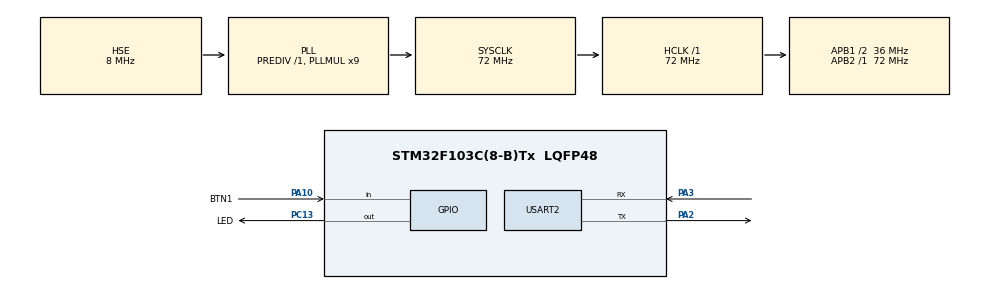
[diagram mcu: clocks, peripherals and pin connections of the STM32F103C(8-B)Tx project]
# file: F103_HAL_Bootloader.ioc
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Mcu.Family=STM32F1
Mcu.Name=STM32F103C(8-B)Tx
Mcu.Package=LQFP48
NVIC.PriorityGroup=NVIC_PRIORITYGROUP_4
PA10.GPIO_Label=BTN1
PA10.Signal=GPIO_Input
PA13.Mode=Serial_Wire
PA13.Signal=SYS_JTMS-SWDIO
PA14.Mode=Serial_Wire
PA14.Signal=SYS_JTCK-SWCLK
PA2.Mode=Asynchronous
PA2.Signal=USART2_TX
PA3.Mode=Asynchronous
PA3.Signal=USART2_RX
PC13-TAMPER-RTC.GPIO_Label=LED
PC13-TAMPER-RTC.Signal=GPIO_Output
PC14-OSC32_IN.Mode=LSE-External-Oscillator
PC14-OSC32_IN.Signal=RCC_OSC32_IN
PC15-OSC32_OUT.Mode=LSE-External-Oscillator
PC15-OSC32_OUT.Signal=RCC_OSC32_OUT
PD0-OSC_IN.Mode=HSE-External-Oscillator
PD0-OSC_IN.Signal=RCC_OSC_IN
PD1-OSC_OUT.Mode=HSE-External-Oscillator
PD1-OSC_OUT.Signal=RCC_OSC_OUT
ProjectManager.HeapSize=0x200
ProjectManager.StackSize=0x400
ProjectManager.TargetToolchain=STM32CubeIDE
RCC.AHBFreq_Value=72000000
RCC.APB1CLKDivider=RCC_HCLK_DIV2
RCC.APB1Freq_Value=36000000
RCC.APB1TimFreq_Value=72000000
RCC.APB2Freq_Value=72000000
RCC.APB2TimFreq_Value=72000000
RCC.HCLKFreq_Value=72000000
RCC.PLLMUL=RCC_PLL_MUL9
RCC.PLLSourceVirtual=RCC_PLLSOURCE_HSE
RCC.SYSCLKFreq_VALUE=72000000
RCC.SYSCLKSource=RCC_SYSCLKSOURCE_PLLCLK
RCC.USBFreq_Value=72000000
USART2.VirtualMode=VM_ASYNC
board=custom

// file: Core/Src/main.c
/* USER CODE BEGIN Header */
/**
  ******************************************************************************
  * @file           : main.c
  * @brief          : Main program body
  ******************************************************************************
  * @attention
  *
  * <h2><center>&copy; Copyright (c) 2022 STMicroelectronics.
  * All rights reserved.</center></h2>
  *
  * This software component is licensed by ST under BSD 3-Clause license,
  * the "License"; You may not use this file except in compliance with the
  * License. You may obtain a copy of the License at:
  *                        opensource.org/licenses/BSD-3-Clause
  *
  ******************************************************************************
  */
/* USER CODE END Header */
#include "main.h"

/* USER CODE BEGIN Includes */
#include <stdio.h>
/* USER CODE END Includes */

/* USER CODE BEGIN PM */
#define BL_V_MAJOR 1
#define BL_V_MINOR 0
/* USER CODE END PM */

UART_HandleTypeDef huart2;

void SystemClock_Config(void);
static void MX_GPIO_Init(void);
static void MX_USART2_UART_Init(void);

/* USER CODE BEGIN 0 */

#ifdef __GNUC__
int __io_putchar(int ch)
#else
int fputc(int ch, FILE *f)
#endif
{
	HAL_UART_Transmit(&huart2, (uint8_t *)&ch, 1, HAL_MAX_DELAY);
	return ch;
}

void goto_application(void)
{
	HAL_GPIO_WritePin(LED_GPIO_Port, LED_Pin, 1);
	printf("Loading application...\r\n");
	void (*app_reset_handler)(void) = (void*)(*((volatile uint32_t*) (0x08010000 + 4U)));
	__set_MSP(*(volatile uint32_t*) 0x08010000);
	app_reset_handler();
}

/* USER CODE END 0 */

int main(void)
{

  /* MCU Configuration--------------------------------------------------------*/

  /* Reset of all peripherals, Initializes the Flash interface and the Systick. */
  HAL_Init();

  /* Configure the system clock */
  SystemClock_Config();

  /* Initialize all configured peripherals */
  MX_GPIO_Init();
  MX_USART2_UART_Init();
  /* USER CODE BEGIN 2 */

  printf("Bootloader v%d.%d\r\n", BL_V_MAJOR, BL_V_MINOR);
  printf("Press 1 for update\r\n");
  printf("Press 2 to boot existing firmware\r\n");

  while(!(HAL_GPIO_ReadPin(BTN1_GPIO_Port, BTN1_Pin))){}
  for(uint8_t i = 0; i < 20; i++)
  {
	  HAL_GPIO_TogglePin(LED_GPIO_Port, LED_Pin);
	  HAL_Delay(250);
  }

  //goto_application();

  /* USER CODE END 2 */

  /* Infinite loop */
  while (1)
  {

  }
}

void SystemClock_Config(void)
{
  RCC_OscInitTypeDef RCC_OscInitStruct = {0};
  RCC_ClkInitTypeDef RCC_ClkInitStruct = {0};

  /** Initializes the RCC Oscillators according to the specified parameters
  * in the RCC_OscInitTypeDef structure.
  */
  RCC_OscInitStruct.OscillatorType = RCC_OSCILLATORTYPE_HSE;
  RCC_OscInitStruct.HSEState = RCC_HSE_ON;
  RCC_OscInitStruct.HSEPredivValue = RCC_HSE_PREDIV_DIV1;
  RCC_OscInitStruct.HSIState = RCC_HSI_ON;
  RCC_OscInitStruct.PLL.PLLState = RCC_PLL_ON;
  RCC_OscInitStruct.PLL.PLLSource = RCC_PLLSOURCE_HSE;
  RCC_OscInitStruct.PLL.PLLMUL = RCC_PLL_MUL9;
  if (HAL_RCC_OscConfig(&RCC_OscInitStruct) != HAL_OK)
  {
    Error_Handler();
  }
  /** Initializes the CPU, AHB and APB buses clocks
  */
  RCC_ClkInitStruct.ClockType = RCC_CLOCKTYPE_HCLK|RCC_CLOCKTYPE_SYSCLK
                              |RCC_CLOCKTYPE_PCLK1|RCC_CLOCKTYPE_PCLK2;
  RCC_ClkInitStruct.SYSCLKSource = RCC_SYSCLKSOURCE_PLLCLK;
  RCC_ClkInitStruct.AHBCLKDivider = RCC_SYSCLK_DIV1;
  RCC_ClkInitStruct.APB1CLKDivider = RCC_HCLK_DIV2;
  RCC_ClkInitStruct.APB2CLKDivider = RCC_HCLK_DIV1;

  if (HAL_RCC_ClockConfig(&RCC_ClkInitStruct, FLASH_LATENCY_2) != HAL_OK)
  {
    Error_Handler();
  }
}

static void MX_USART2_UART_Init(void)
{

  huart2.Instance = USART2;
  huart2.Init.BaudRate = 115200;
  huart2.Init.WordLength = UART_WORDLENGTH_8B;
  huart2.Init.StopBits = UART_STOPBITS_1;
  huart2.Init.Parity = UART_PARITY_NONE;
  huart2.Init.Mode = UART_MODE_TX_RX;
  huart2.Init.HwFlowCtl = UART_HWCONTROL_NONE;
  huart2.Init.OverSampling = UART_OVERSAMPLING_16;
  if (HAL_UART_Init(&huart2) != HAL_OK)
  {
    Error_Handler();
  }

}

static void MX_GPIO_Init(void)
{
  GPIO_InitTypeDef GPIO_InitStruct = {0};

  /* GPIO Ports Clock Enable */
  __HAL_RCC_GPIOC_CLK_ENABLE();
  __HAL_RCC_GPIOD_CLK_ENABLE();
  __HAL_RCC_GPIOA_CLK_ENABLE();

  /*Configure GPIO pin Output Level */
  HAL_GPIO_WritePin(LED_GPIO_Port, LED_Pin, GPIO_PIN_RESET);

  /*Configure GPIO pin : LED_Pin */
  GPIO_InitStruct.Pin = LED_Pin;
  GPIO_InitStruct.Mode = GPIO_MODE_OUTPUT_PP;
  GPIO_InitStruct.Pull = GPIO_NOPULL;
  GPIO_InitStruct.Speed = GPIO_SPEED_FREQ_LOW;
  HAL_GPIO_Init(LED_GPIO_Port, &GPIO_InitStruct);

  /*Configure GPIO pin : BTN1_Pin */
  GPIO_InitStruct.Pin = BTN1_Pin;
  GPIO_InitStruct.Mode = GPIO_MODE_INPUT;
  GPIO_InitStruct.Pull = GPIO_NOPULL;
  HAL_GPIO_Init(BTN1_GPIO_Port, &GPIO_InitStruct);

}

void Error_Handler(void)
{
  __disable_irq();
  while (1)
  {
  }
}

/************************ (C) COPYRIGHT STMicroelectronics *****END OF FILE****/
